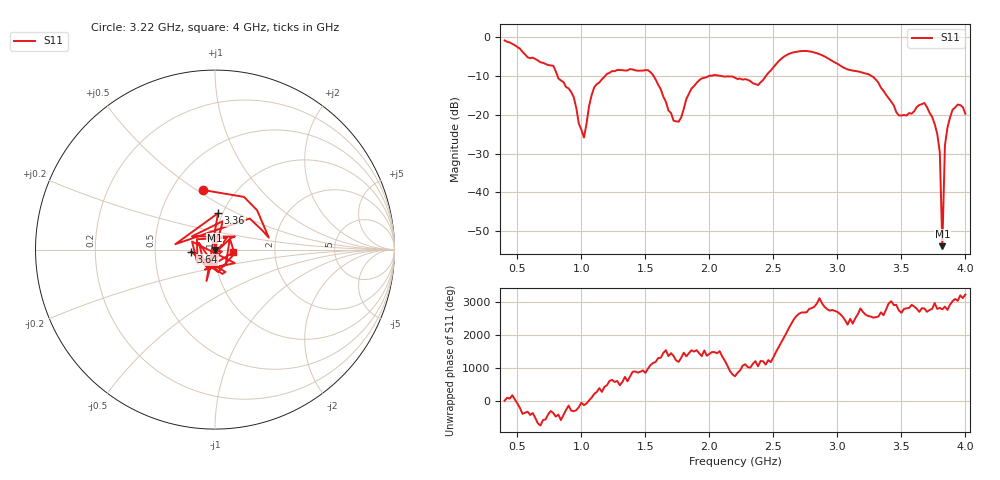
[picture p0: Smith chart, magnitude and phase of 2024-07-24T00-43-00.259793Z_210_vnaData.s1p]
!Created with skrf (http://scikit-rf.org).
# Hz S RI R 50.0
!freq ReS11 ImS11
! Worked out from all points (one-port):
!   181 points, 400 MHz to 4 GHz, reference 50 ohm
!   lowest |S11| = -53.9 dB at 3.82 GHz (marker M1), VSWR 1.00, Z = 50 - j0.2 ohm
!   |S11| at or under -10 dB: 813.1 MHz to 1.186 GHz (372.5 MHz wide, 37.3 % of centre); 1.564 GHz to 1.996 GHz (432.1 MHz wide, 24.3 % of centre); 3.267 GHz to end of sweep (the widest 3 of 4)
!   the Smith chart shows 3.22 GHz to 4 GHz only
!   S11 on the Smith chart (normalised r, x): 3.22 GHz: 0.71, +0.53; 3.36 GHz: 0.95, +0.40; 3.64 GHz: 0.76, -0.02; 4 GHz: 1.23, -0.04
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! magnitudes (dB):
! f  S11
! 400 MHz  -0.8
! 780 MHz  -7.3
! 860 MHz  -11.6
! 940 MHz  -15.5
! 1.02 GHz  -25.9
! 1.1 GHz  -12.9
! 1.3 GHz  -8.5
! 1.54 GHz  -9.0
! 1.72 GHz  -21.5
! 1.76 GHz  -21.8
! 1.92 GHz  -11.1
! 2.2 GHz  -10.5
! 2.38 GHz  -12.3
! 2.66 GHz  -3.9
! 3.1 GHz  -8.5
! 3.22 GHz  -9.4
! 3.36 GHz  -13.8
! 3.48 GHz  -20.2
! 3.56 GHz  -19.6
! 3.64 GHz  -17.5
! 3.68 GHz  -17.0
! 3.78 GHz  -24.9
! 3.8 GHz  -29.6
! 3.82 GHz  -53.9
! 3.84 GHz  -28.0
! 3.86 GHz  -23.3
! 3.94 GHz  -17.4
! 4 GHz  -19.8
